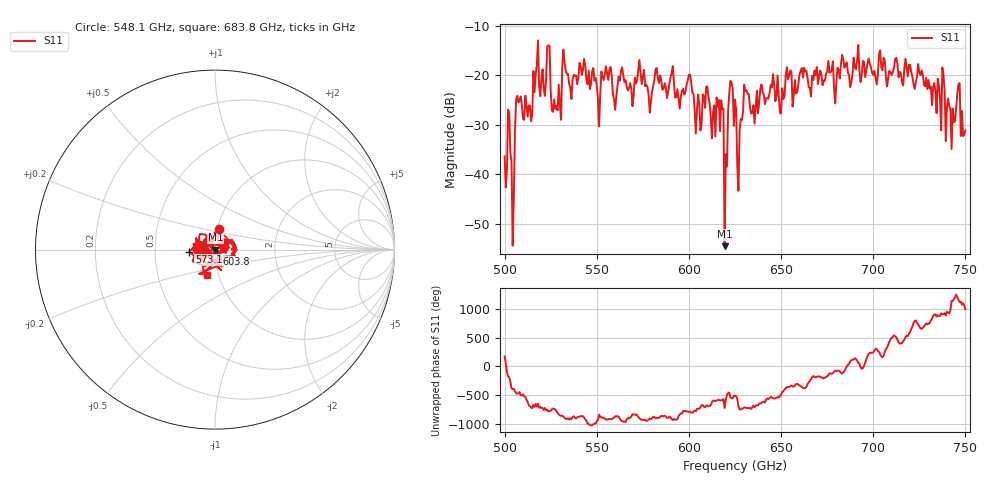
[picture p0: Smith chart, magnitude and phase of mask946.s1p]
!Created with skrf (http://scikit-rf.org).
# GHz S MA R 50.0
!freq magS11 angS11
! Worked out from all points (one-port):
!   401 points, 500 GHz to 750 GHz, reference 50 ohm
!   lowest |S11| = -54.6 dB at 619.4 GHz (marker M1), VSWR 1.00, Z = 50.2 - j0.00532 ohm
!   |S11| at or under -10 dB: start of sweep to end of sweep
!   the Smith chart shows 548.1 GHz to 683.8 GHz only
!   S11 on the Smith chart (normalised r, x): 548.1 GHz: 1.02, +0.24; 573.1 GHz: 0.75, -0.02; 603.8 GHz: 1.02, -0.05; 683.8 GHz: 0.88, -0.25
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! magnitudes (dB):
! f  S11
! 500 GHz  -36.4
! 502.5 GHz  -27.5
! 504.4 GHz  -54.5
! 507.5 GHz  -25.4
! 513.8 GHz  -26.1
! 516.9 GHz  -19.8
! 523.8 GHz  -13.9
! 526.9 GHz  -24.9
! 531.2 GHz  -18.5
! 548.1 GHz  -18.5
! 562.5 GHz  -21.1
! 573.1 GHz  -16.9
! 593.8 GHz  -22.8
! 600 GHz  -19.9
! 603.8 GHz  -31.8
! 617.5 GHz  -25.0
! 619.4 GHz  -54.6
! 622.5 GHz  -21.1
! 625 GHz  -24.9
! 627.5 GHz  -31.1
! 631.2 GHz  -23.0
! 656.2 GHz  -26.3
! 683.8 GHz  -16.7
! 687.5 GHz  -22.4
! 718.8 GHz  -20.2
! 743.1 GHz  -26.7
! 745.6 GHz  -23.7
! 750 GHz  -31.1
